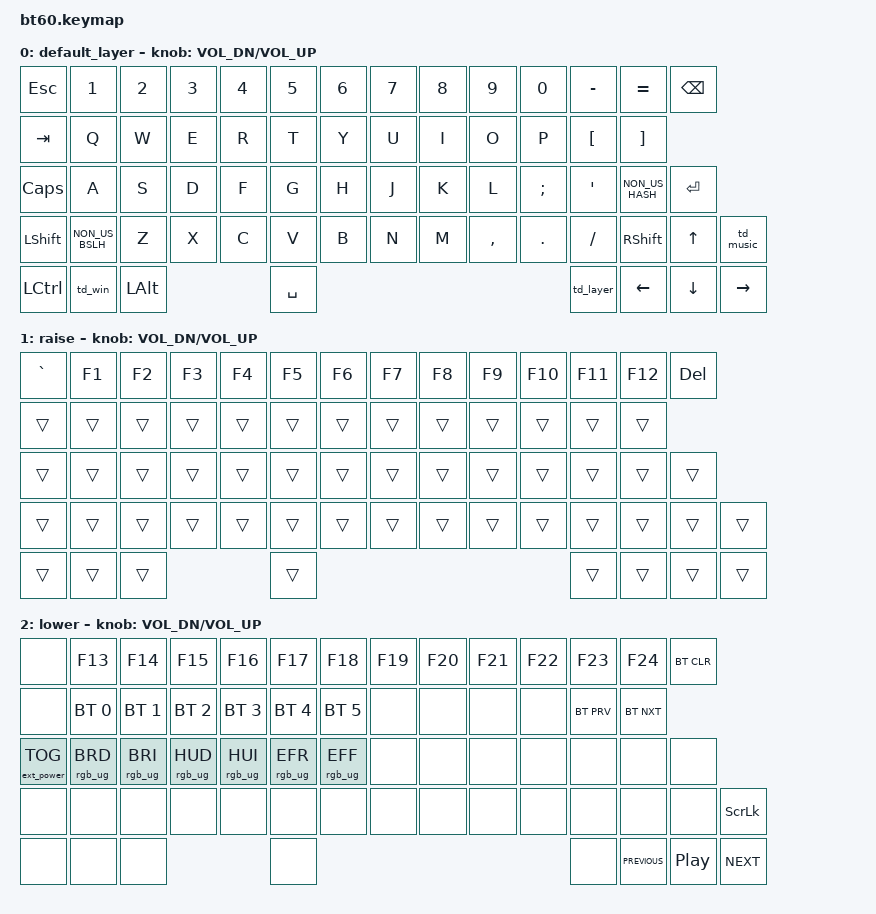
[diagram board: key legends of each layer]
#include <behaviors.dtsi>
#include <dt-bindings/zmk/keys.h>
#include <dt-bindings/zmk/bt.h>
#include <dt-bindings/zmk/rgb.h>
#include <dt-bindings/zmk/backlight.h>
#include <dt-bindings/zmk/ext_power.h>

#define DEFAULT 0
#define RAISE   1
#define LOWER   2


&sl {
		release-after-ms = <2000>;
	};

/ {
	behaviors {
        td_music: tap_dance_music {
            compatible = "zmk,behavior-tap-dance";
            label = "td_music";
            #binding-cells = <0>;
            tapping-term-ms = <400>;
            bindings = <&kp C_PLAY_PAUSE>, <&kp C_NEXT>, <&kp C_PREVIOUS>;
        };
	td_layer: tap_dance_layer {
	    compatible = "zmk,behavior-tap-dance";
            label = "td_layer";
            #binding-cells = <0>;
            tapping-term-ms = <400>;
            bindings = <&mo 1>, <&sl 2>;
        };
	td_win: tap_dance_windows {
	    compatible = "zmk,behavior-tap-dance";
            label = "td_win";
            #binding-cells = <0>;
            tapping-term-ms = <400>;
            bindings = <&kp LGUI>, <&mo 2>;
        };
		
	};
	
	
	keymap {
		compatible = "zmk,keymap";

		default_layer {
				// ------------------------------------------------------------------------------------------
				// | ESC |  1  |  2  |  3  |  4  |  5  |  6  |  7  |  8  |  9  |  0  |  -  |  =  |     BKSP
				// | TAB  |  Q  |  W  |  E  |  R  |  T  |  Y  |  U  |  I  |  O  |  P  |  [  |  ]  |  
				// | CAPS  |  A  |  S  |  D  |  F  |  G  |  H  |  J  |  K  |  L  |  ;  |  '  |   # |    ENTER    |
				// |  SHIFT|  \  |  Z  |  X  |  C  |  V  |  B  |  N  |  M  |  ,  |  .  | /   | SHFT | UP |  PP   |
				// |  CTL  |  WIN  |  ALT  |            SPACE                        | MO1 | LEFT | DOWN | RIGHT |
				// ------------------------------------------------------------------------------------------
			bindings = <
				&kp ESC   &kp N1	 &kp N2   &kp N3 &kp N4 &kp N5 &kp N6 &kp N7 &kp  N8   &kp  N9   &kp  N0  &kp MINUS &kp EQUAL        &kp BSPC
				&kp TAB   &kp Q 	 &kp W    &kp E  &kp R  &kp T  &kp Y  &kp U  &kp  I    &kp  O    &kp  P   &kp LBKT  &kp RBKT 
				&kp CLCK  &kp A 	 &kp S    &kp D  &kp F  &kp G  &kp H  &kp J  &kp  K    &kp  L    &kp SEMI &kp SQT   &kp NON_US_HASH  &kp RET
				&kp LSHFT &kp NON_US_BSLH  &kp Z  &kp X  &kp C  &kp V  &kp B  &kp N  &kp M     &kp COMMA &kp DOT  &kp FSLH  &kp RSHFT        &kp UP   &td_music  
				&kp LCTRL &td_win &kp LALT            &kp SPACE                                                   &td_layer &kp LEFT         &kp DOWN &kp RIGHT
			>;
			sensor-bindings = <&inc_dec_kp C_VOL_DN C_VOL_UP>;
		};
		raise {
			bindings = <
				&kp GRAVE &kp F1  &kp F2  &kp F3   &kp F4   &kp F5   &kp F6   &kp F7   &kp  F8  &kp F9   &kp F10  &kp F11  &kp F12 &kp DELETE
				&trans   &trans   &trans  &trans   &trans   &trans   &trans   &trans   &trans   &trans   &trans   &trans   &trans
				&trans   &trans   &trans  &trans   &trans   &trans   &trans   &trans   &trans   &trans   &trans   &trans   &trans &trans
				&trans   &trans   &trans  &trans   &trans   &trans   &trans   &trans   &trans   &trans   &trans   &trans   &trans &trans &trans
				&trans   &trans   &trans                    &trans                                                &trans   &trans &trans &trans
			>;
			sensor-bindings = <&inc_dec_kp C_VOL_DN C_VOL_UP>;
		};
		lower {
			bindings = <
				&none &kp F13 &kp F14 &kp F15 &kp F16 &kp F17 &kp F18 &kp F19 &kp  F20 &kp F21 &kp F22 &kp F23 &kp F24   &bt BT_CLR
				&none &bt BT_SEL 0 &bt BT_SEL 1 &bt BT_SEL 2 &bt BT_SEL 3 &bt BT_SEL 4 &bt BT_SEL 5 &none &none &none &none &bt BT_PRV &bt BT_NXT   
				&ext_power EP_TOG   &rgb_ug RGB_BRD &rgb_ug RGB_BRI &rgb_ug RGB_HUD &rgb_ug RGB_HUI   &rgb_ug RGB_EFR   &rgb_ug RGB_EFF   &none   &none   &none   &none   &none   &none   &none 
				&none   &none &none  &none   &none   &none   &none   &none   &none   &none   &none   &none   &none   &none &kp SLCK
				&none &none &none               &none                                                          &none  &kp C_PREVIOUS &kp C_PLAY_PAUSE &kp C_NEXT
			>;
			sensor-bindings = <&inc_dec_kp C_VOL_DN C_VOL_UP>;
		};
	};
};
